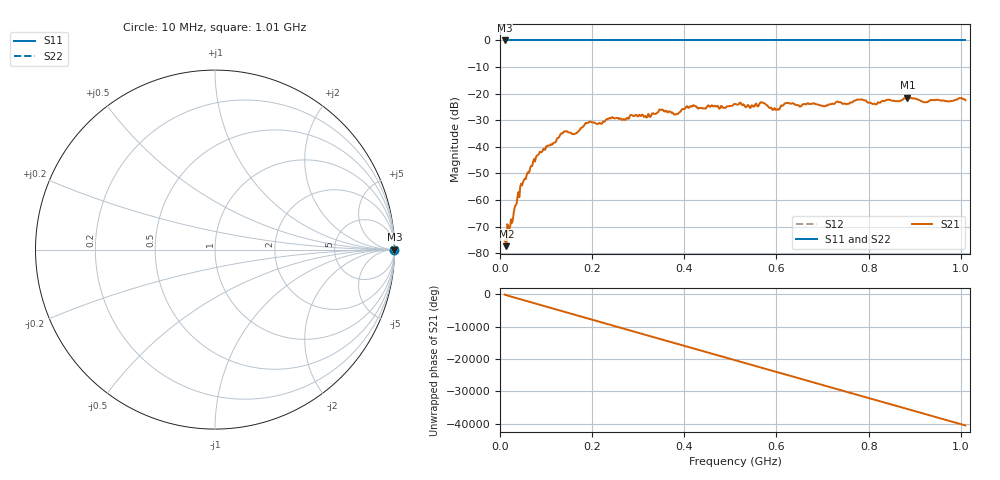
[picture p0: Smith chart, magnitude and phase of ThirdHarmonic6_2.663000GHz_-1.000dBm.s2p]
! 8/17/2025 6:09:11 AM
! C:\ANRITSUVNA\TEMP\TEMP.S2P
! CHANNEL.1
! TR.MEASUREMENT
! RAW.DATA
! RF.CORRECTION.OFF
! AVERAGING.OFF
! IF.BANDWIDTH: 5KHZ
! SWEEPTYPE:  FREQ.SWEEP(Linear)
! Reference Plane Port Info
! PORT:  PORT1  PORT2
! DISTANCE:  0  m  0  m
! TIME:  0  s  0  s
! PHASE.OFFSET:  0  deg.  0  deg.
! LOSS:  0  dB  0  dB
! REF.LOSS:  0  dB  0  dB
! REF.FREQ:  0  Hz  0  Hz
! Power Info
! POWER:  -20  dBm  -20  dBm
! EFF.POWER:  -20  dBm  -20  dBm
! SOURCE.ATTEN:  0  dB  0  dB
! TEST.ATTEN:  0  dB  0  dB
# GHZ S RI R 50.0
! FREQ.GHZ  S11RE  S11IM  S21RE  S21IM  S12RE  S12IM  S22RE  S22IM
!; PortSelection: Port_12
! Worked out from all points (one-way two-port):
!   501 points, 10 MHz to 1.01 GHz, reference 50 ohm
!   highest |S21| = -21.57 dB at 884 MHz (marker M1); lowest = -77.4 dB at 14 MHz (marker M2)
!   lowest |S11| = 0.0 dB at 10 MHz (marker M3)
!   |S11| at or under -10 dB: nowhere
!   |S22| runs from 0.0 to 0.0 dB; largest |S21 - S12| = 1.1
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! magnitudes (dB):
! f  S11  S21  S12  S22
! 10 MHz  0.0  -75.3  0.0  0.0
! 14 MHz  0.0  -77.4  0.0  0.0
! 48 MHz  0.0  -54.6  0.0  0.0
! 82 MHz  0.0  -43.1  0.0  0.0
! 136 MHz  0.0  -34.9  0.0  0.0
! 162 MHz  0.0  -35.2  0.0  0.0
! 178 MHz  0.0  -32.7  0.0  0.0
! 192 MHz  0.0  -30.9  0.0  0.0
! 316 MHz  0.0  -28.4  0.0  0.0
! 344 MHz  0.0  -26.7  0.0  0.0
! 382 MHz  0.0  -27.7  0.0  0.0
! 416 MHz  0.0  -24.9  0.0  0.0
! 510 MHz  0.0  -23.9  0.0  0.0
! 570 MHz  0.0  -23.4  0.0  0.0
! 602 MHz  0.0  -25.8  0.0  0.0
! 622 MHz  0.0  -23.5  0.0  0.0
! 678 MHz  0.0  -23.8  0.0  0.0
! 780 MHz  0.0  -22.3  0.0  0.0
! 814 MHz  0.0  -23.9  0.0  0.0
! 844 MHz  0.0  -22.3  0.0  0.0
! 884 MHz  0.0  -21.6  0.0  0.0
! 1.01 GHz  0.0  -22.5  0.0  0.0
